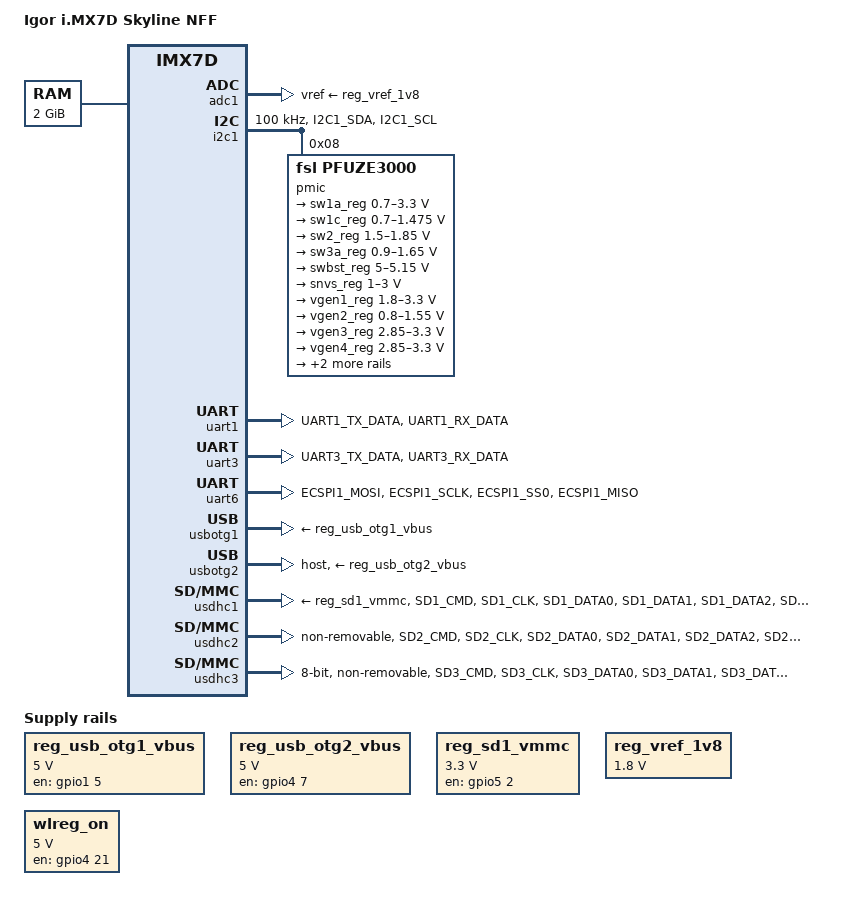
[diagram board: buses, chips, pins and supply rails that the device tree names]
/*
 * Copyright (C) 2015 Freescale Semiconductor, Inc.
 *
 * This program is free software; you can redistribute it and/or modify
 * it under the terms of the GNU General Public License version 2 as
 * published by the Free Software Foundation.
 */

/dts-v1/;

#include <dt-bindings/input/input.h>
#include "imx7d.dtsi"

/ {
	// model = "Freescale i.MX7D SabreSD Board";
	model = "Igor i.MX7D Skyline NFF";
	compatible = "igor,imx7d-skynff", "fsl,imx7d";

	memory {
		reg = <0x80000000 0x80000000>;
	};

	// bcmdhd_wlan_0: bcmdhd_wlan@0 {
	// 	compatible = "android,bcmdhd_wlan";
	// 	gpios = <&gpio4 20 0>;		/* WL_HOST_WAKE */
	// 	wlreg_on-supply = <&wlreg_on>;
	// };

	regulators {
		compatible = "simple-bus";
		#address-cells = <1>;
		#size-cells = <0>;

		reg_usb_otg1_vbus: regulator@0 {
			compatible = "regulator-fixed";
			reg = <0>;
			regulator-name = "usb_otg1_vbus";
			regulator-min-microvolt = <5000000>;
			regulator-max-microvolt = <5000000>;
			gpio = <&gpio1 5 GPIO_ACTIVE_HIGH>;
			enable-active-high;
		};

		reg_usb_otg2_vbus: regulator@1 {
			compatible = "regulator-fixed";
			reg = <1>;
			regulator-name = "usb_otg2_vbus";
			regulator-min-microvolt = <5000000>;
			regulator-max-microvolt = <5000000>;
			gpio = <&gpio4 7 GPIO_ACTIVE_HIGH>;
			enable-active-high;
		};

		reg_sd1_vmmc: regulator@3 {
			compatible = "regulator-fixed";
			regulator-name = "VDD_SD1";
			regulator-min-microvolt = <3300000>;
			regulator-max-microvolt = <3300000>;
			gpio = <&gpio5 2 GPIO_ACTIVE_HIGH>;
			startup-delay-us = <200000>;
			enable-active-high;
		};

		reg_vref_1v8: regulator@5 {
			compatible = "regulator-fixed";
			reg = <5>;
			regulator-name = "vref-1v8";
			regulator-min-microvolt = <1800000>;
			regulator-max-microvolt = <1800000>;
		};

		wlreg_on: fixedregulator@100 {
			compatible = "regulator-fixed";
			regulator-min-microvolt = <5000000>;
			regulator-max-microvolt = <5000000>;
			regulator-name = "wlreg_on";
			gpio = <&gpio4 21 GPIO_ACTIVE_HIGH>;
			startup-delay-us = <100>;
			enable-active-high;
		};
	};
};

&adc1 {
	vref-supply = <&reg_vref_1v8>;
	status = "okay";
};

// &adc2 {
// 	vref-supply = <&reg_vref_1v8>;
// 	status = "disabled";
// };

&cpu0 {
	arm-supply = <&sw1a_reg>;
};

// &clks {
// 	assigned-clocks = <&clks IMX7D_PLL_AUDIO_POST_DIV>;
// 	assigned-clock-rates = <884736000>;
// };

&i2c1 {
	clock-frequency = <100000>;
	pinctrl-names = "default";
	pinctrl-0 = <&pinctrl_i2c1>;
	status = "okay";

	pmic: pfuze3000@08 {
		compatible = "fsl,pfuze3000";
		reg = <0x08>;

		regulators {
			sw1a_reg: sw1a {
				regulator-min-microvolt = <700000>;
				regulator-max-microvolt = <3300000>;
				regulator-boot-on;
				regulator-always-on;
				regulator-ramp-delay = <6250>;
			};

			/* use sw1c_reg to align with pfuze100/pfuze200 */
			sw1c_reg: sw1b {
				regulator-min-microvolt = <700000>;
				regulator-max-microvolt = <1475000>;
				regulator-boot-on;
				regulator-always-on;
				regulator-ramp-delay = <6250>;
			};

			sw2_reg: sw2 {
				regulator-min-microvolt = <1500000>;
				regulator-max-microvolt = <1850000>;
				regulator-boot-on;
				regulator-always-on;
			};

			sw3a_reg: sw3 {
				regulator-min-microvolt = <900000>;
				regulator-max-microvolt = <1650000>;
				regulator-boot-on;
				regulator-always-on;
			};

			swbst_reg: swbst {
				regulator-min-microvolt = <5000000>;
				regulator-max-microvolt = <5150000>;
			};

			snvs_reg: vsnvs {
				regulator-min-microvolt = <1000000>;
				regulator-max-microvolt = <3000000>;
				regulator-boot-on;
				regulator-always-on;
			};

			vref_reg: vrefddr {
				regulator-boot-on;
				regulator-always-on;
			};

			vgen1_reg: vldo1 {
				regulator-min-microvolt = <1800000>;
				regulator-max-microvolt = <3300000>;
				regulator-always-on;
			};

			vgen2_reg: vldo2 {
				regulator-min-microvolt = <800000>;
				regulator-max-microvolt = <1550000>;
				regulator-always-on;
			};

			vgen3_reg: vccsd {
				regulator-min-microvolt = <2850000>;
				regulator-max-microvolt = <3300000>;
				regulator-always-on;
			};

			vgen4_reg: v33 {
				regulator-min-microvolt = <2850000>;
				regulator-max-microvolt = <3300000>;
				regulator-always-on;
			};

			vgen5_reg: vldo3 {
				regulator-min-microvolt = <1800000>;
				regulator-max-microvolt = <3300000>;
				regulator-always-on;
			};

			vgen6_reg: vldo4 {
				regulator-min-microvolt = <1800000>;
				regulator-max-microvolt = <3300000>;
				regulator-always-on;
			};
		};
	};
};

// &i2c2 {
// 	clock-frequency = <100000>;
// 	pinctrl-names = "default";
// 	pinctrl-0 = <&pinctrl_i2c2>;
// 	status = "okay";

// 	fxas2100x@20 {
// 		compatible = "fsl,fxas2100x";
// 		reg = <0x20>;
// 	};

// 	fxos8700@1e {
// 		compatible = "fsl,fxos8700";
// 		reg = <0x1e>;
// 	};

// 	mpl3115@60 {
// 		compatible = "fsl,mpl3115";
// 		reg = <0x60>;
// 	};
// };

// &gpmi {
// 	pinctrl-names = "default";
// 	pinctrl-0 = <&pinctrl_gpmi_nand_1>;
// 	status = "disabled";
// 	nand-on-flash-bbt;
// };

&iomuxc {
	pinctrl-names = "default";
	pinctrl-0 = <&pinctrl_hog_1>;

	imx7d-sdb {
		pinctrl_hog_1: hoggrp-1 {
			fsl,pins = <
				MX7D_PAD_ECSPI2_SS0__GPIO4_IO23	0x19 /* BT_REG_ON */
			>;
		};

		pinctrl_i2c1: i2c1grp {
			fsl,pins = <
				MX7D_PAD_I2C1_SDA__I2C1_SDA	0x4000007f
				MX7D_PAD_I2C1_SCL__I2C1_SCL	0x4000007f
			>;
		};

		// pinctrl_i2c2: i2c2grp {
		// 	fsl,pins = <
		// 		MX7D_PAD_I2C2_SDA__I2C2_SDA	0x4000007f
		// 		MX7D_PAD_I2C2_SCL__I2C2_SCL	0x4000007f
		// 	>;
		// };

		// pinctrl_sai2: sai2grp {
		// 	fsl,pins = <
		// 		MX7D_PAD_SAI2_TX_BCLK__SAI2_TX_BCLK     0x1f
		// 		MX7D_PAD_SAI2_TX_SYNC__SAI2_TX_SYNC     0x1f
		// 		MX7D_PAD_SAI2_TX_DATA__SAI2_TX_DATA0    0x30
		// 		MX7D_PAD_SAI2_RX_DATA__SAI2_RX_DATA0    0x1f
		// 	>;
		// };

		pinctrl_uart1: uart1grp {
			fsl,pins = <
				MX7D_PAD_UART1_TX_DATA__UART1_DCE_TX 0x79
				MX7D_PAD_UART1_RX_DATA__UART1_DCE_RX 0x79
			>;
		};

		pinctrl_uart3: uart3grp {
			fsl,pins = <
				MX7D_PAD_UART3_TX_DATA__UART3_DCE_TX 0x79
				MX7D_PAD_UART3_RX_DATA__UART3_DCE_RX 0x79
			>;
		};

		pinctrl_uart6: uart6grp {
			fsl,pins = <
				MX7D_PAD_ECSPI1_MOSI__UART6_DCE_TX 0x79
				MX7D_PAD_ECSPI1_SCLK__UART6_DCE_RX 0x79
				MX7D_PAD_ECSPI1_SS0__UART6_DCE_CTS 0x79
				MX7D_PAD_ECSPI1_MISO__UART6_DCE_RTS 0x79
			>;
		};

		pinctrl_usdhc1_gpio: usdhc1_gpiogrp {
			fsl,pins = <
				MX7D_PAD_SD1_CD_B__GPIO5_IO0		0x59 /* CD */
				MX7D_PAD_SD1_WP__GPIO5_IO1		0x59 /* WP */
				MX7D_PAD_SD1_RESET_B__GPIO5_IO2		0x59 /* vmmc */
				MX7D_PAD_GPIO1_IO08__SD1_VSELECT	0x59 /* VSELECT */
			>;
		};

		pinctrl_usbotg2_pwr_1: usbotg2-1 {
			fsl,pins = <
				MX7D_PAD_UART3_CTS_B__GPIO4_IO7	0x14
			>;
		};

		pinctrl_usdhc1: usdhc1grp {
			fsl,pins = <
				MX7D_PAD_SD1_CMD__SD1_CMD		0x59
				MX7D_PAD_SD1_CLK__SD1_CLK		0x19
				MX7D_PAD_SD1_DATA0__SD1_DATA0		0x59
				MX7D_PAD_SD1_DATA1__SD1_DATA1		0x59
				MX7D_PAD_SD1_DATA2__SD1_DATA2		0x59
				MX7D_PAD_SD1_DATA3__SD1_DATA3		0x59
			>;
		};

		pinctrl_usdhc1_100mhz: usdhc1grp_100mhz {
			fsl,pins = <
				MX7D_PAD_SD1_CMD__SD1_CMD		0x5a
				MX7D_PAD_SD1_CLK__SD1_CLK		0x1a
				MX7D_PAD_SD1_DATA0__SD1_DATA0		0x5a
				MX7D_PAD_SD1_DATA1__SD1_DATA1		0x5a
				MX7D_PAD_SD1_DATA2__SD1_DATA2		0x5a
				MX7D_PAD_SD1_DATA3__SD1_DATA3		0x5a
			>;
		};

		pinctrl_usdhc1_200mhz: usdhc1grp_200mhz {
			fsl,pins = <
				MX7D_PAD_SD1_CMD__SD1_CMD		0x5b
				MX7D_PAD_SD1_CLK__SD1_CLK		0x1b
				MX7D_PAD_SD1_DATA0__SD1_DATA0		0x5b
				MX7D_PAD_SD1_DATA1__SD1_DATA1		0x5b
				MX7D_PAD_SD1_DATA2__SD1_DATA2		0x5b
				MX7D_PAD_SD1_DATA3__SD1_DATA3		0x5b
			>;
		};

		pinctrl_usdhc2: usdhc2grp {
			fsl,pins = <
				MX7D_PAD_SD2_CMD__SD2_CMD       0x59
				MX7D_PAD_SD2_CLK__SD2_CLK       0x19
				MX7D_PAD_SD2_DATA0__SD2_DATA0   0x59
				MX7D_PAD_SD2_DATA1__SD2_DATA1   0x59
				MX7D_PAD_SD2_DATA2__SD2_DATA2   0x59
				MX7D_PAD_SD2_DATA3__SD2_DATA3   0x59
				MX7D_PAD_ECSPI2_MOSI__GPIO4_IO21	0x19 /* WL_REG_ON */
				MX7D_PAD_ECSPI2_SCLK__GPIO4_IO20	0x19 /* WL_HOST_WAKE */
			>;
		};

		pinctrl_usdhc2_100mhz: usdhc2grp_100mhz {
			fsl,pins = <
				MX7D_PAD_SD2_CMD__SD2_CMD       0x5a
				MX7D_PAD_SD2_CLK__SD2_CLK       0x1a
				MX7D_PAD_SD2_DATA0__SD2_DATA0   0x5a
				MX7D_PAD_SD2_DATA1__SD2_DATA1   0x5a
				MX7D_PAD_SD2_DATA2__SD2_DATA2   0x5a
				MX7D_PAD_SD2_DATA3__SD2_DATA3   0x5a
			>;
		};

		pinctrl_usdhc2_200mhz: usdhc2grp_200mhz {
			fsl,pins = <
				MX7D_PAD_SD2_CMD__SD2_CMD       0x5b
				MX7D_PAD_SD2_CLK__SD2_CLK       0x1b
				MX7D_PAD_SD2_DATA0__SD2_DATA0   0x5b
				MX7D_PAD_SD2_DATA1__SD2_DATA1   0x5b
				MX7D_PAD_SD2_DATA2__SD2_DATA2   0x5b
				MX7D_PAD_SD2_DATA3__SD2_DATA3   0x5b
			>;
		};

		pinctrl_usdhc3: usdhc3grp {
			fsl,pins = <
				MX7D_PAD_SD3_CMD__SD3_CMD		0x59
				MX7D_PAD_SD3_CLK__SD3_CLK		0x19
				MX7D_PAD_SD3_DATA0__SD3_DATA0		0x59
				MX7D_PAD_SD3_DATA1__SD3_DATA1		0x59
				MX7D_PAD_SD3_DATA2__SD3_DATA2		0x59
				MX7D_PAD_SD3_DATA3__SD3_DATA3		0x59
				MX7D_PAD_SD3_DATA4__SD3_DATA4		0x59
				MX7D_PAD_SD3_DATA5__SD3_DATA5		0x59
				MX7D_PAD_SD3_DATA6__SD3_DATA6		0x59
				MX7D_PAD_SD3_DATA7__SD3_DATA7		0x59
				MX7D_PAD_SD3_STROBE__SD3_STROBE         0x19
			>;
		};

		pinctrl_usdhc3_100mhz: usdhc3grp_100mhz {
			fsl,pins = <
				MX7D_PAD_SD3_CMD__SD3_CMD		0x5a
				MX7D_PAD_SD3_CLK__SD3_CLK		0x1a
				MX7D_PAD_SD3_DATA0__SD3_DATA0		0x5a
				MX7D_PAD_SD3_DATA1__SD3_DATA1		0x5a
				MX7D_PAD_SD3_DATA2__SD3_DATA2		0x5a
				MX7D_PAD_SD3_DATA3__SD3_DATA3		0x5a
				MX7D_PAD_SD3_DATA4__SD3_DATA4		0x5a
				MX7D_PAD_SD3_DATA5__SD3_DATA5		0x5a
				MX7D_PAD_SD3_DATA6__SD3_DATA6		0x5a
				MX7D_PAD_SD3_DATA7__SD3_DATA7		0x5a
				MX7D_PAD_SD3_STROBE__SD3_STROBE         0x1a
			>;
		};

		pinctrl_usdhc3_200mhz: usdhc3grp_200mhz {
			fsl,pins = <
				MX7D_PAD_SD3_CMD__SD3_CMD		0x5b
				MX7D_PAD_SD3_CLK__SD3_CLK		0x1b
				MX7D_PAD_SD3_DATA0__SD3_DATA0		0x5b
				MX7D_PAD_SD3_DATA1__SD3_DATA1		0x5b
				MX7D_PAD_SD3_DATA2__SD3_DATA2		0x5b
				MX7D_PAD_SD3_DATA3__SD3_DATA3		0x5b
				MX7D_PAD_SD3_DATA4__SD3_DATA4		0x5b
				MX7D_PAD_SD3_DATA5__SD3_DATA5		0x5b
				MX7D_PAD_SD3_DATA6__SD3_DATA6		0x5b
				MX7D_PAD_SD3_DATA7__SD3_DATA7		0x5b
				MX7D_PAD_SD3_STROBE__SD3_STROBE         0x1b
			>;
		};
	};
};

// &sai1 {
// 	pinctrl-names = "default";
// 	pinctrl-0 = <&pinctrl_sai1>;
// 	assigned-clocks = <&clks IMX7D_SAI1_ROOT_SRC>,
// 			  <&clks IMX7D_SAI1_ROOT_CLK>;
// 	assigned-clock-parents = <&clks IMX7D_PLL_AUDIO_POST_DIV>;
// 	assigned-clock-rates = <0>, <36864000>;
// 	status = "okay";
// };

&sdma {
	status = "okay";
};

// &pwm1 {
// 	pinctrl-names = "default";
// 	pinctrl-0 = <&pinctrl_pwm1>;
// 	status = "okay";
// };

&iomuxc_lpsr {
	pinctrl-names = "default";
	pinctrl-0 = <&pinctrl_hog_2 &pinctrl_usbotg2_pwr_2>;

	imx7d-sdb {
		pinctrl_hog_2: hoggrp-2 {
			fsl,pins = <
				MX7D_PAD_GPIO1_IO05__GPIO1_IO5	  0x14
			>;
		};

		// pinctrl_pwm1: pwm1grp {
		// 	fsl,pins = <
		// 		MX7D_PAD_GPIO1_IO01__PWM1_OUT	  0x30
		// 	>;
		// };

		pinctrl_usbotg2_pwr_2: usbotg2-2 {
			fsl,pins = <
				MX7D_PAD_UART3_CTS_B__GPIO4_IO7 0x14
			>;
		};

		// pinctrl_wdog: wdoggrp {
		// 	fsl,pins = <
		// 		MX7D_PAD_GPIO1_IO00__WDOD1_WDOG_B 0x74
		// 	>;
		// };
		};
	};
};

&uart1 {
	pinctrl-names = "default";
	pinctrl-0 = <&pinctrl_uart1>;
	assigned-clocks = <&clks IMX7D_UART1_ROOT_SRC>;
	assigned-clock-parents = <&clks IMX7D_OSC_24M_CLK>;
	status = "okay";
};

&uart3 {
	pinctrl-names = "default";
	pinctrl-0 = <&pinctrl_uart3>;
	assigned-clocks = <&clks IMX7D_UART3_ROOT_SRC>;
	assigned-clock-parents = <&clks IMX7D_OSC_24M_CLK>;
	status = "okay";
};

&uart6 {
	pinctrl-names = "default";
	pinctrl-0 = <&pinctrl_uart6>;
	assigned-clocks = <&clks IMX7D_UART6_ROOT_SRC>;
	assigned-clock-parents = <&clks IMX7D_PLL_SYS_MAIN_240M_CLK>;
	fsl,uart-has-rtscts;
	status = "okay";
};

&usbotg1 {
	vbus-supply = <&reg_usb_otg1_vbus>;
	srp-disable;
	hnp-disable;
	adp-disable;
	status = "okay";
};

&usbotg2 {
	vbus-supply = <&reg_usb_otg2_vbus>;
	dr_mode = "host";
	status = "okay";
};

// SD Card
&usdhc1 {
	pinctrl-names = "default", "state_100mhz", "state_200mhz";
	pinctrl-0 = <&pinctrl_usdhc1>, <&pinctrl_usdhc1_gpio>;
	pinctrl-1 = <&pinctrl_usdhc1_100mhz>, <&pinctrl_usdhc1_gpio>;
	pinctrl-2 = <&pinctrl_usdhc1_200mhz>, <&pinctrl_usdhc1_gpio>;
	cd-gpios = <&gpio5 0 GPIO_ACTIVE_LOW>;
	wp-gpios = <&gpio5 1 GPIO_ACTIVE_HIGH>;
	vmmc-supply = <&reg_sd1_vmmc>;
	enable-sdio-wakeup;
	keep-power-in-suspend;
	status = "okay";
};

// WiFi
&usdhc2 {
	pinctrl-names = "default", "state_100mhz", "state_200mhz";
	pinctrl-0 = <&pinctrl_usdhc2>;
	pinctrl-1 = <&pinctrl_usdhc2_100mhz>;
	pinctrl-2 = <&pinctrl_usdhc2_200mhz>;
	enable-sdio-wakeup;
	keep-power-in-suspend;
	non-removable;
	cd-post;
	pm-ignore-notify;
	wifi-host;
	status = "okay";
};

// eMMC
&usdhc3 {
	pinctrl-names = "default", "state_100mhz", "state_200mhz";
	pinctrl-0 = <&pinctrl_usdhc3>;
	pinctrl-1 = <&pinctrl_usdhc3_100mhz>;
	pinctrl-2 = <&pinctrl_usdhc3_200mhz>;
	assigned-clocks = <&clks IMX7D_USDHC3_ROOT_CLK>;
	assigned-clock-rates = <400000000>;
	bus-width = <8>;
	non-removable;
	status = "okay";
};

// &wdog1 {
// 	pinctrl-names = "default";
// 	pinctrl-0 = <&pinctrl_wdog>;
// 	fsl,wdog_b;
// };
